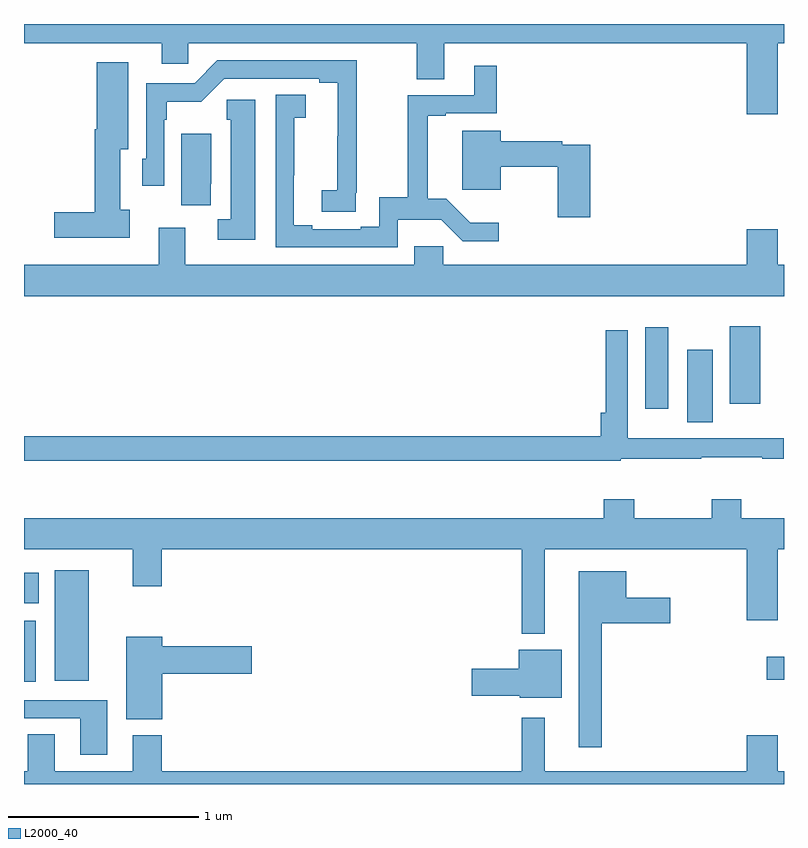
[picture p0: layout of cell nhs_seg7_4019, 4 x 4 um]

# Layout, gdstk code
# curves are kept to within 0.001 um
import gdstk
lib = gdstk.Library(unit=1e-6, precision=1e-09)
def R(c, l, rs):  # rectangles x0, y0, x1, y1
    for r in rs: c.add(gdstk.rectangle(r[:2], r[2:], *l))
def P(c, l, *ps):  # polygons
    for p in ps: c.add(gdstk.Polygon(p, *l))
L2000_40 = (2000, 40)

nhs_seg7_4019 = lib.new_cell('nhs_seg7_4019')
R(nhs_seg7_4019, L2000_40, [(365,1046.537,365.062,1046.86), (365.162,1046.543,365.341,1047.124), (368.91,1046.549,369,1046.671), (365,1046.952,365.077,1047.112), (368.492,1047.904,368.626,1048.285), (368.27,1047.975,368.392,1048.405), (368.714,1048.002,368.875,1048.408)])
P(nhs_seg7_4019, L2000_40, [(368.968,1049.9),(369,1049.9),(369,1050),(365,1050),(365,1049.9),(365.726,1049.9),(365.726,1049.79),(365.865,1049.79),(365.865,1049.9),(367.066,1049.9),(367.066,1049.71),(367.213,1049.71),(367.213,1049.9),(368.804,1049.9),(368.804,1049.526),(368.968,1049.526)],
  [(366.746,1049.113),(366.752,1049.113),(366.752,1049.808),(366.018,1049.808),(365.898,1049.688),(365.643,1049.688),(365.643,1049.292),(365.622,1049.292),(365.622,1049.148),(365.739,1049.148),(365.739,1049.495),(365.752,1049.495),(365.752,1049.591),(365.933,1049.591),(366.054,1049.712),(366.554,1049.712),(366.554,1049.692),(366.65,1049.692),(366.649,1049.126),(366.567,1049.126),(366.567,1049.011),(366.746,1049.011)],
  [(365.557,1049.022),(365.506,1049.022),(365.506,1049.342),(365.548,1049.342),(365.548,1049.8),(365.384,1049.8),(365.384,1049.446),(365.372,1049.446),(365.372,1049.009),(365.16,1049.009),(365.16,1048.874),(365.557,1048.874)],
  [(366.966,1048.97),(367.195,1048.97),(367.308,1048.857),(367.498,1048.857),(367.498,1048.954),(367.349,1048.954),(367.223,1049.08),(367.124,1049.08),(367.124,1049.517),(367.219,1049.517),(367.219,1049.529),(367.487,1049.529),(367.487,1049.779),(367.37,1049.779),(367.37,1049.625),(367.021,1049.625),(367.021,1049.087),(366.87,1049.087),(366.87,1048.934),(366.773,1048.934),(366.773,1048.92),(366.517,1048.92),(366.517,1048.94),(366.421,1048.94),(366.421,1049.203),(366.423,1049.203),(366.423,1049.507),(366.484,1049.507),(366.484,1049.627),(366.324,1049.627),(366.324,1048.824),(366.966,1048.824)],
  [(366.217,1049.602),(366.067,1049.602),(366.067,1049.496),(366.089,1049.496),(366.089,1048.973),(366.021,1048.973),(366.021,1048.865),(366.217,1048.865)],
  [(367.979,1049.364),(367.832,1049.364),(367.832,1049.384),(367.51,1049.384),(367.51,1049.437),(367.307,1049.437),(367.307,1049.127),(367.51,1049.127),(367.51,1049.248),(367.808,1049.248),(367.808,1048.983),(367.979,1048.983)],
  [(365.984,1049.158),(365.986,1049.158),(365.986,1049.422),(365.828,1049.422),(365.828,1049.046),(365.984,1049.046)],
  [(369,1048.732),(368.968,1048.732),(368.968,1048.921),(368.804,1048.921),(368.804,1048.732),(367.207,1048.732),(367.207,1048.83),(367.055,1048.83),(367.055,1048.732),(365.848,1048.732),(365.848,1048.927),(365.708,1048.927),(365.708,1048.732),(365,1048.732),(365,1048.568),(369,1048.568)],
  [(368.142,1047.711),(368.564,1047.711),(368.564,1047.721),(368.885,1047.721),(368.885,1047.711),(368.998,1047.711),(368.998,1047.821),(368.722,1047.821),(368.722,1047.819),(368.388,1047.819),(368.388,1047.82),(368.178,1047.82),(368.178,1048.387),(368.062,1048.387),(368.062,1047.955),(368.036,1047.955),(368.036,1047.83),(365,1047.83),(365,1047.702),(368.142,1047.702)],
  [(367.741,1047.236),(368.804,1047.236),(368.804,1046.862),(368.968,1046.862),(368.968,1047.236),(369,1047.236),(369,1047.4),(368.775,1047.4),(368.775,1047.499),(368.62,1047.499),(368.62,1047.4),(368.211,1047.4),(368.211,1047.499),(368.051,1047.499),(368.051,1047.4),(365,1047.4),(365,1047.236),(365.573,1047.236),(365.573,1047.042),(365.726,1047.042),(365.726,1047.236),(367.62,1047.236),(367.62,1046.792),(367.741,1046.792)],
  [(368.041,1046.846),(368.401,1046.846),(368.401,1046.98),(368.17,1046.98),(368.17,1047.121),(367.919,1047.121),(367.919,1046.193),(368.041,1046.193)],
  [(365.728,1046.579),(366.199,1046.579),(366.199,1046.726),(365.728,1046.726),(365.728,1046.776),(365.537,1046.776),(365.537,1046.342),(365.728,1046.342)],
  [(367.831,1046.707),(367.604,1046.707),(367.604,1046.606),(367.356,1046.606),(367.356,1046.464),(367.608,1046.464),(367.608,1046.453),(367.831,1046.453)],
  [(365.437,1046.442),(365,1046.442),(365,1046.346),(365.297,1046.346),(365.297,1046.154),(365.437,1046.154)],
  [(369,1046.068),(368.968,1046.068),(368.968,1046.257),(368.804,1046.257),(368.804,1046.068),(367.741,1046.068),(367.741,1046.35),(367.62,1046.35),(367.62,1046.068),(365.726,1046.068),(365.726,1046.257),(365.573,1046.257),(365.573,1046.068),(365.161,1046.068),(365.161,1046.261),(365.021,1046.261),(365.021,1046.068),(365,1046.068),(365,1046),(369,1046)])

lib.write_gds('nhs_seg7_4019.gds')
